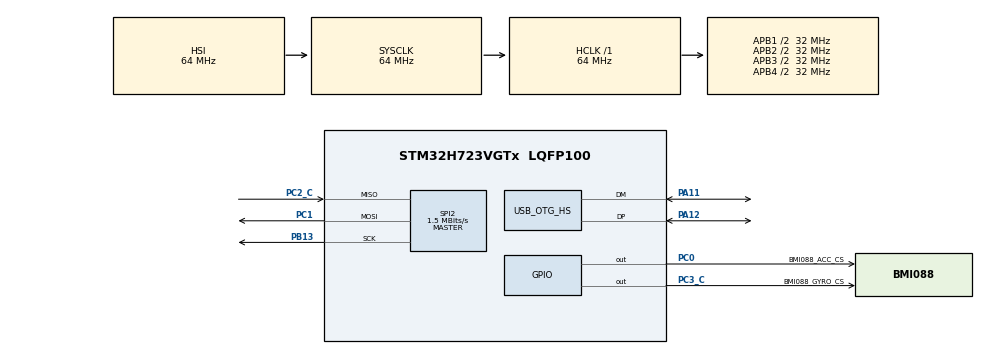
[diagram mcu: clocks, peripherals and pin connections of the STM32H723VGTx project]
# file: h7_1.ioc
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Mcu.Family=STM32H7
Mcu.Name=STM32H723VGTx
Mcu.Package=LQFP100
NVIC.OTG_HS_IRQn=true\:0\:0\:false\:false\:true\:false\:true
NVIC.PriorityGroup=NVIC_PRIORITYGROUP_4
NVIC.TIM6_DAC_IRQn=true\:0\:0\:false\:false\:true\:true\:true
PA13(JTMS/SWDIO).Mode=Serial_Wire
PA13(JTMS/SWDIO).Signal=DEBUG_JTMS-SWDIO
PA14(JTCK/SWCLK).Mode=Serial_Wire
PA14(JTCK/SWCLK).Signal=DEBUG_JTCK-SWCLK
PA11.Mode=Device_Only_FS
PA11.Signal=USB_OTG_HS_DM
PA12.Mode=Device_Only_FS
PA12.Signal=USB_OTG_HS_DP
PB13.GPIO_Speed=GPIO_SPEED_FREQ_VERY_HIGH
PB13.Mode=Full_Duplex_Master
PB13.Signal=SPI2_SCK
PC0.GPIO_Label=BMI088_ACC_CS
PC0.GPIO_Speed=GPIO_SPEED_FREQ_VERY_HIGH
PC0.PinState=GPIO_PIN_SET
PC0.Signal=GPIO_Output
PC1.GPIO_Speed=GPIO_SPEED_FREQ_VERY_HIGH
PC1.Mode=Full_Duplex_Master
PC1.Signal=SPI2_MOSI
PC2_C.GPIO_Speed=GPIO_SPEED_FREQ_VERY_HIGH
PC2_C.Mode=Full_Duplex_Master
PC2_C.Signal=SPI2_MISO
PC3_C.GPIO_Label=BMI088_GYRO_CS
PC3_C.GPIO_Speed=GPIO_SPEED_FREQ_VERY_HIGH
PC3_C.PinState=GPIO_PIN_SET
PC3_C.Signal=GPIO_Output
PH0-OSC_IN.Mode=HSE-External-Oscillator
PH0-OSC_IN.Signal=RCC_OSC_IN
PH1-OSC_OUT.Mode=HSE-External-Oscillator
PH1-OSC_OUT.Signal=RCC_OSC_OUT
ProjectManager.HeapSize=0x200
ProjectManager.StackSize=0x400
ProjectManager.TargetToolchain=MDK-ARM V5.32
RCC.ADCFreq_Value=48375000
RCC.APB1Freq_Value=32000000
RCC.APB2Freq_Value=32000000
RCC.APB3Freq_Value=32000000
RCC.APB4Freq_Value=32000000
RCC.CortexFreq_Value=64000000
RCC.D1PPRE=RCC_APB3_DIV2
RCC.D2PPRE1=RCC_APB1_DIV2
RCC.D2PPRE2=RCC_APB2_DIV2
RCC.D3PPRE=RCC_APB4_DIV2
RCC.DIVM1=2
RCC.DIVN1=16
RCC.DIVQ1=4
RCC.HCLKFreq_Value=64000000
RCC.HSE_VALUE=24000000
RCC.PLL2FRACN=0
RCC.PLL3FRACN=0
RCC.PLLFRACN=0
RCC.SYSCLKFreq_VALUE=64000000
RCC.USBFreq_Value=48000000
TIM6.Period=999
TIM6.Prescaler=63
SPI2.BaudRatePrescaler=SPI_BAUDRATEPRESCALER_32
SPI2.CLKPhase=SPI_PHASE_2EDGE
SPI2.CLKPolarity=SPI_POLARITY_HIGH
SPI2.CalculateBaudRate=1.5 MBits/s
SPI2.DataSize=SPI_DATASIZE_8BIT
SPI2.Direction=SPI_DIRECTION_2LINES
SPI2.Mode=SPI_MODE_MASTER
SPI2.VirtualType=VM_MASTER
USB_DEVICE.CLASS_NAME_HS=CDC
USB_DEVICE.VirtualMode=Cdc
USB_DEVICE.VirtualModeHS=Cdc_HS
USB_OTG_HS.VirtualMode-Device_Only_FS=Device_Only_FS
VP_TIM6_VS_ClockSourceINT.Mode=Enable_Timer
VP_USB_DEVICE_VS_USB_DEVICE_CDC_HS.Mode=CDC_HS
board=custom

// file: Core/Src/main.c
/* USER CODE BEGIN Header */
/**
  ******************************************************************************
  * @file           : main.c
  * @brief          : Main program body
  ******************************************************************************
  * @attention
  *
  * <h2><center>&copy; Copyright (c) 2026 STMicroelectronics.
  * All rights reserved.</center></h2>
  *
  * This software component is licensed by ST under BSD 3-Clause license,
  * the "License"; You may not use this file except in compliance with the
  * License. You may obtain a copy of the License at:
  *                        opensource.org/licenses/BSD-3-Clause
  *
  ******************************************************************************
  */
/* USER CODE END Header */
#include "main.h"
#include "tim.h"
#include "spi.h"
#include "usb_device.h"
#include "gpio.h"

/* USER CODE BEGIN Includes */
#include "imu.h"
#include "usbd_cdc_if.h"
/* USER CODE END Includes */

void SystemClock_Config(void);

/* USER CODE BEGIN 0 */
static uint8_t gyro_raw[BMI088_GYRO_RAW_SIZE];
static uint8_t usb_line[] = "GYRO_RAW: 00 00 00 00 00 00\r\n";

static uint8_t HexDigit(uint8_t value)
{
  value &= 0x0FU;
  return (value < 10U) ? (uint8_t)('0' + value)
                       : (uint8_t)('A' + value - 10U);
}

static void GyroRawToUsbLine(const uint8_t raw[BMI088_GYRO_RAW_SIZE])
{
  uint32_t i;

  for (i = 0U; i < BMI088_GYRO_RAW_SIZE; i++)
  {
    uint32_t position = 10U + (i * 3U);
    usb_line[position] = HexDigit(raw[i] >> 4U);
    usb_line[position + 1U] = HexDigit(raw[i]);
  }
}
/* USER CODE END 0 */

int main(void)
{

  /* MCU Configuration--------------------------------------------------------*/

  /* Reset of all peripherals, Initializes the Flash interface and the Systick. */
  HAL_Init();

  /* Configure the system clock */
  SystemClock_Config();

  /* Initialize all configured peripherals */
  MX_GPIO_Init();
  MX_TIM6_Init();
  MX_SPI2_Init();
  MX_USB_DEVICE_Init();
  /* USER CODE BEGIN 2 */
  HAL_Delay(100U);
  if (BMI088_Gyro_Init() != HAL_OK)
  {
    static uint8_t error_message[] = "BMI088 gyro not found\r\n";
    CDC_Transmit_HS(error_message, sizeof(error_message) - 1U);
    Error_Handler();
  }
  /* USER CODE END 2 */

  /* Infinite loop */
  /* USER CODE BEGIN WHILE */
  while (1)
  {
    if (BMI088_Gyro_ReadRaw(gyro_raw) == HAL_OK)
    {
      GyroRawToUsbLine(gyro_raw);
      CDC_Transmit_HS(usb_line, sizeof(usb_line) - 1U);
    }

		HAL_Delay(20U);
    /* USER CODE END WHILE */

  }
}

void SystemClock_Config(void)
{
  RCC_OscInitTypeDef RCC_OscInitStruct = {0};
  RCC_ClkInitTypeDef RCC_ClkInitStruct = {0};

  /** Supply configuration update enable
  */
  HAL_PWREx_ConfigSupply(PWR_LDO_SUPPLY);
  /** Configure the main internal regulator output voltage
  */
  __HAL_PWR_VOLTAGESCALING_CONFIG(PWR_REGULATOR_VOLTAGE_SCALE3);

  while(!__HAL_PWR_GET_FLAG(PWR_FLAG_VOSRDY)) {}
  /** Initializes the RCC Oscillators according to the specified parameters
  * in the RCC_OscInitTypeDef structure.
  */
  RCC_OscInitStruct.OscillatorType = RCC_OSCILLATORTYPE_HSI|RCC_OSCILLATORTYPE_HSE;
  RCC_OscInitStruct.HSEState = RCC_HSE_ON;
  RCC_OscInitStruct.HSIState = RCC_HSI_DIV1;
  RCC_OscInitStruct.HSICalibrationValue = RCC_HSICALIBRATION_DEFAULT;
  RCC_OscInitStruct.PLL.PLLState = RCC_PLL_ON;
  RCC_OscInitStruct.PLL.PLLSource = RCC_PLLSOURCE_HSE;
  RCC_OscInitStruct.PLL.PLLM = 2;
  RCC_OscInitStruct.PLL.PLLN = 16;
  RCC_OscInitStruct.PLL.PLLP = 2;
  RCC_OscInitStruct.PLL.PLLQ = 4;
  RCC_OscInitStruct.PLL.PLLR = 2;
  RCC_OscInitStruct.PLL.PLLRGE = RCC_PLL1VCIRANGE_3;
  RCC_OscInitStruct.PLL.PLLVCOSEL = RCC_PLL1VCOWIDE;
  RCC_OscInitStruct.PLL.PLLFRACN = 0;
  if (HAL_RCC_OscConfig(&RCC_OscInitStruct) != HAL_OK)
  {
    Error_Handler();
  }
  /** Initializes the CPU, AHB and APB buses clocks
  */
  RCC_ClkInitStruct.ClockType = RCC_CLOCKTYPE_HCLK|RCC_CLOCKTYPE_SYSCLK
                              |RCC_CLOCKTYPE_PCLK1|RCC_CLOCKTYPE_PCLK2
                              |RCC_CLOCKTYPE_D3PCLK1|RCC_CLOCKTYPE_D1PCLK1;
  RCC_ClkInitStruct.SYSCLKSource = RCC_SYSCLKSOURCE_HSI;
  RCC_ClkInitStruct.SYSCLKDivider = RCC_SYSCLK_DIV1;
  RCC_ClkInitStruct.AHBCLKDivider = RCC_HCLK_DIV1;
  RCC_ClkInitStruct.APB3CLKDivider = RCC_APB3_DIV2;
  RCC_ClkInitStruct.APB1CLKDivider = RCC_APB1_DIV2;
  RCC_ClkInitStruct.APB2CLKDivider = RCC_APB2_DIV2;
  RCC_ClkInitStruct.APB4CLKDivider = RCC_APB4_DIV2;

  if (HAL_RCC_ClockConfig(&RCC_ClkInitStruct, FLASH_LATENCY_1) != HAL_OK)
  {
    Error_Handler();
  }
}

void Error_Handler(void)
{
  __disable_irq();
  while (1)
  {
  }
}

/************************ (C) COPYRIGHT STMicroelectronics *****END OF FILE****/
